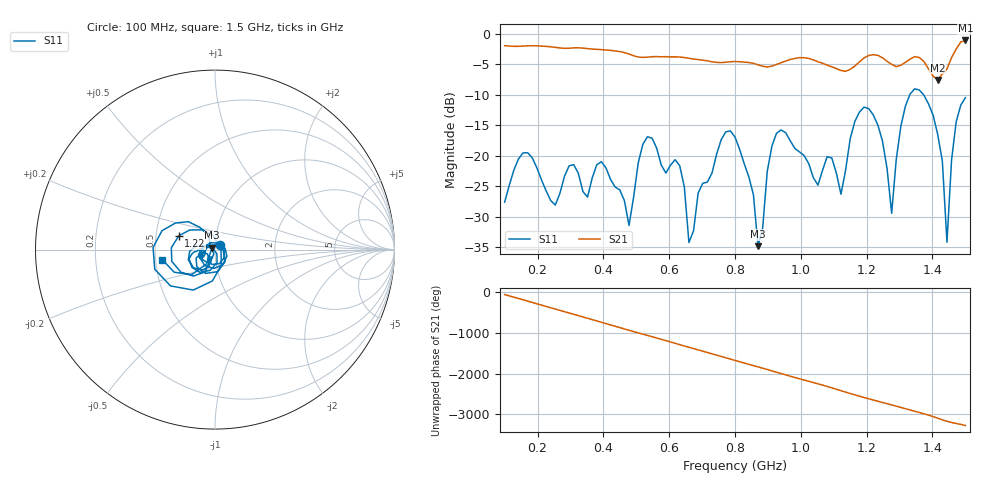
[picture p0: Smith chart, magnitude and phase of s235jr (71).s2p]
! NanoVNA-App
! Date: 2025-09-26 09:45:20
! Start: 100MHz Stop: 1,5GHz Points: 101
! S-Parameter data: F S11 S21 S12 S22
# Hz S RI R 50
!  Frequency  S11_Real  S11_Imag  S21_Real  S21_Imag  S12_Real  S12_Imag  S22_Real  S22_Imag
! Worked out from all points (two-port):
!   101 points, 100 MHz to 1.5 GHz, reference 50 ohm
!   highest |S21| = -1.11 dB at 1.5 GHz (marker M1); lowest = -7.6 dB at 1.416 GHz (marker M2)
!   |S21| within 3 dB of the highest: start of sweep to 668.9 MHz; 1.189 GHz to 1.252 GHz (62.66 MHz wide, 5.13 % of centre)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
!   lowest |S11| = -34.9 dB at 870 MHz (marker M3), VSWR 1.04, Z = 48.5 + j0.961 ohm
!   |S11| at or under -10 dB: start of sweep to 1.331 GHz; 1.373 GHz to end of sweep
!   S12 and S22 are empty: the file has one direction only
!   S11 on the Smith chart (normalised r, x): 100 MHz: 1.06, +0.06; 1.22 GHz: 0.66, +0.11; 1.5 GHz: 0.54, -0.07
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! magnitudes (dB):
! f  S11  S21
! 100 MHz  -27.6  -2.0
! 156 MHz  -19.6  -2.0
! 338 MHz  -25.9  -2.4
! 394 MHz  -21.0  -2.6
! 478 MHz  -31.5  -3.3
! 520 MHz  -18.2  -3.9
! 576 MHz  -21.5  -3.8
! 632 MHz  -21.7  -3.8
! 660 MHz  -34.3  -4.0
! 800 MHz  -17.0  -4.6
! 870 MHz  -34.9  -5.1
! 926 MHz  -16.3  -5.0
! 1.038 GHz  -23.6  -4.3
! 1.122 GHz  -26.3  -6.0
! 1.164 GHz  -14.4  -5.3
! 1.22 GHz  -13.3  -3.4
! 1.276 GHz  -29.5  -5.0
! 1.332 GHz  -9.9  -4.2
! 1.416 GHz  -16.6  -7.6
! 1.444 GHz  -34.2  -5.8
! 1.472 GHz  -14.5  -2.5
! 1.5 GHz  -10.5  -1.1
